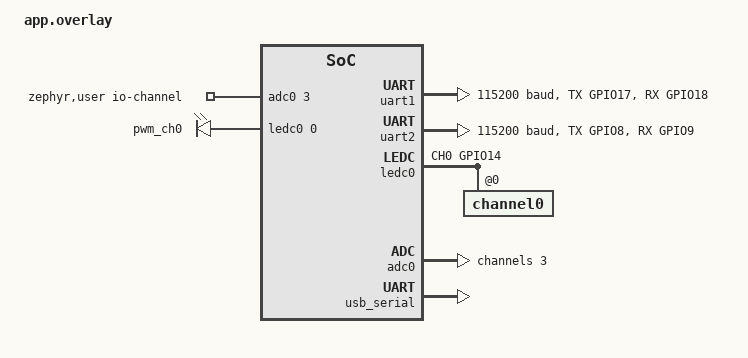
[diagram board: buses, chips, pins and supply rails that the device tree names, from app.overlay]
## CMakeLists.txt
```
# Zephyr application: Pix-in-the-Loop DUT persona ("VENT-CTRL") for ESP32-S3.
#
# Build:  west build -b esp32s3_devkitc/esp32s3/procpu . -p auto
# Flash:  west flash
#
# The persona emulates a ventilation/climate-controller node well enough to
# exercise the bench's Phase 2 (Bus Conformance) suite: a UART command link, a
# UART sensor peer, an SPI master, and a GPIO interrupt responder.
cmake_minimum_required(VERSION 3.20.0)
find_package(Zephyr REQUIRED HINTS $ENV{ZEPHYR_BASE})
project(vent_ctrl_dut)

target_sources(app PRIVATE
    src/dut_main.c
    src/cmd_link.c
    src/sensor_peer.c
    src/pwm_actuators.c
    src/gpio_io.c
    src/adc_dut.c
)
zephyr_include_directories(src)
```

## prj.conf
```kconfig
# DUT persona configuration.
#
# Console/log stays on uart0 (the devkit's USB-UART bridge, GPIO43/44) so uart1
# and uart2 are free for the bench links.

CONFIG_GPIO=y
CONFIG_SERIAL=y
CONFIG_GPIO=y
CONFIG_SERIAL=y
CONFIG_PWM=y
CONFIG_ADC=y

CONFIG_LOG=y
CONFIG_LOG_MODE_DEFERRED=y
```

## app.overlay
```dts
#include <zephyr/dt-bindings/pwm/pwm.h>
#include <zephyr/dt-bindings/pinctrl/esp32s3-pinctrl.h>

/ {
	chosen {
		/* Keep console + logging OFF uart1's pins (GPIO43/44), which carry the
		 * bench command link, by routing them to the built-in USB-Serial-JTAG
		 * (the DevKitC "USB" port) instead of uart0. */
		zephyr,console = &usb_serial;
		zephyr,shell-uart = &usb_serial;
	};

	zephyr,user {
		/* GPIO4 = ADC1 channel 3 on the ESP32-S3 (channel N -> GPIO N+1). */
		io-channels = <&adc0 3>;
	};

	aliases {
		uart-cmd = &uart1;
		uart-peer = &uart2;
		pwm-motor = &pwm_ch0;
		adc-thermistor = "/zephyr,user";
	};

	pwm_outputs {
		compatible = "pwm-leds";
		pwm_ch0: pwm_ch0 {
			pwms = <&ledc0 0 PWM_MSEC(1) PWM_POLARITY_NORMAL>;
		};
	};
};

&pinctrl {
	uart1_default: uart1_default {
		group1 {
			pinmux = <UART1_TX_GPIO17>;
			output-high;
		};
		group2 {
			pinmux = <UART1_RX_GPIO18>;
			bias-pull-up;
		};
	};

	uart2_dut: uart2_dut {
		group1 {
			pinmux = <UART2_TX_GPIO8>;
			output-high;
		};
		group2 {
			pinmux = <UART2_RX_GPIO9>;
			bias-pull-up;
		};
	};

	ledc_dut: ledc_dut {
		group1 {
			pinmux = <LEDC_CH0_GPIO14>;
		};
	};
};

&uart1 {
	status = "okay";
	current-speed = <115200>;
	pinctrl-0 = <&uart1_default>;
	pinctrl-names = "default";
};

&uart2 {
	status = "okay";
	current-speed = <115200>;
	pinctrl-0 = <&uart2_dut>;
	pinctrl-names = "default";
};

&ledc0 {
	status = "okay";
	pinctrl-0 = <&ledc_dut>;
	pinctrl-names = "default";
	#address-cells = <1>;
	#size-cells = <0>;

	channel0@0 {
		reg = <0>;
		timer = <0>;
	};
};

&adc0 {
	status = "okay";
	#address-cells = <1>;
	#size-cells = <0>;

	adc1_ch3: channel@3 {
		reg = <3>;
		zephyr,gain = "ADC_GAIN_1_4";
		zephyr,reference = "ADC_REF_INTERNAL";
		zephyr,acquisition-time = <0>;
		zephyr,resolution = <12>;
	};
};

/* Built-in USB-Serial-JTAG: console + log sink, so the bench command link on
 * uart1 (GPIO43/44) stays clean. View DUT logs on the DevKitC "USB" port. */
&usb_serial {
	status = "okay";
};
```

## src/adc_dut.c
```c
#include <zephyr/kernel.h>
#include <zephyr/drivers/adc.h>
#include <zephyr/logging/log.h>
#include "adc_dut.h"

LOG_MODULE_REGISTER(adc_dut, LOG_LEVEL_INF);

static const struct adc_dt_spec adc_chan = ADC_DT_SPEC_GET(DT_ALIAS(adc_thermistor));

void adc_dut_start(void)
{
    if (!adc_is_ready_dt(&adc_chan)) {
        LOG_ERR("ADC not ready");
        return;
    }
    adc_channel_setup_dt(&adc_chan);
}

uint16_t adc_dut_read_mv(void)
{
    int16_t buf;
    struct adc_sequence seq = {
        .buffer = &buf,
        .buffer_size = sizeof(buf),
    };
    adc_sequence_init_dt(&adc_chan, &seq);
    int err = adc_read_dt(&adc_chan, &seq);
    if (err) return 0;
    
    int32_t val_mv = buf;
    adc_raw_to_millivolts_dt(&adc_chan, &val_mv);
    return val_mv;
}
```

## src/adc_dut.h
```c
#pragma once
#include <stdint.h>
void adc_dut_start(void);
uint16_t adc_dut_read_mv(void);
```

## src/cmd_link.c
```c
#include <zephyr/kernel.h>
#include <zephyr/drivers/uart.h>
#include <zephyr/logging/log.h>
#include <string.h>
#include <stdio.h>
#include "gpio_io.h"

LOG_MODULE_REGISTER(cmd_link, LOG_LEVEL_INF);

static const struct device *uart1 = DEVICE_DT_GET(DT_ALIAS(uart_cmd));

static void cmd_send(const char *msg)
{
    for (int i = 0; msg[i] != '\0'; i++) {
        uart_poll_out(uart1, msg[i]);
    }
    uart_poll_out(uart1, '\n');
}

void cmd_link_send_alert(const char *msg)
{
    cmd_send(msg);
}

static void cmd_dispatch(char *rx_buf, int rx_len)
{
    rx_buf[rx_len] = '\0';
    char out[64] = "ERR";

    if (strncmp(rx_buf, "SLEEP", 5) == 0) {
        gpio_set_system_state(SYSTEM_STATE_SLEEP);
        snprintf(out, sizeof(out), "SLEEPOK");
    } else if (strncmp(rx_buf, "PING", 4) == 0) {
        snprintf(out, sizeof(out), "PONG");
    }
    cmd_send(out);
}

static void cmd_thread_func(void *arg1, void *arg2, void *arg3)
{
    char rx_buf[64];
    int rx_len = 0;
    int idle = 0;

    /* The bench delivers each command as a single burst with NO terminator
     * (its shell strips the trailing newline), so frame on the idle gap that
     * follows the burst -- while still honouring an explicit \n/\r if one
     * ever arrives. */
    while (1) {
        unsigned char c;
        if (uart_poll_in(uart1, &c) == 0) {
            if (c == '\n' || c == '\r') {
                if (rx_len > 0) {
                    cmd_dispatch(rx_buf, rx_len);
                    rx_len = 0;
                }
            } else if (rx_len < (int)sizeof(rx_buf) - 1) {
                rx_buf[rx_len++] = c;
            }
            idle = 0;
        } else {
            if (rx_len > 0 && ++idle >= 3) {   /* ~6 ms quiet => burst complete */
                cmd_dispatch(rx_buf, rx_len);
                rx_len = 0;
                idle = 0;
            }
            k_sleep(K_MSEC(2));
        }
    }
}

K_THREAD_DEFINE(cmd_tid, 1024, cmd_thread_func, NULL, NULL, NULL, 6, 0, 0);

void cmd_link_start(void)
{
    if (!device_is_ready(uart1)) {
        LOG_ERR("UART1 not ready");
    }
}
```

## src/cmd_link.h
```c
#pragma once
void cmd_link_start(void);
void cmd_link_send_alert(const char *msg);
```

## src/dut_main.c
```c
#include <zephyr/kernel.h>
#include <zephyr/logging/log.h>

#include "gpio_io.h"
#include "pwm_actuators.h"
#include "adc_dut.h"
#include "sensor_peer.h"
#include "cmd_link.h"

LOG_MODULE_REGISTER(dut_main, LOG_LEVEL_INF);

int main(void)
{
    LOG_INF("DUT Integration Persona starting");

    gpio_io_start();
    pwm_actuators_start();
    adc_dut_start();
    sensor_peer_start();
    cmd_link_start();

    LOG_INF("DUT ready - running state machine");
    
    // Simple main loop to check ADC (Scenario 1)
    while (1) {
        if (gpio_get_system_state() == SYSTEM_STATE_RUN) {
            uint16_t mv = adc_dut_read_mv();
            if (mv > 2000) { // Overheating threshold! (e.g. 2.0V)
                LOG_WRN("Overheating detected! ADC=%u mV", mv);
                gpio_set_fault(true);
                pwm_actuator_off();
                // Stay in fault state until reset (simplification for test)
            }
        }
        k_sleep(K_MSEC(100));
    }
    return 0;
}
```

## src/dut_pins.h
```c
#pragma once

#include <zephyr/drivers/gpio.h>

/*
 * DUT (ESP32-S3) pin map for the Integration Scenarios persona.
 *
 * All signals live on the gpio0 bank (GPIO0-21). Strapping pins (GPIO0/3/45/46),
 * the SPI flash/PSRAM pins (GPIO26-37) and the USB-Serial-JTAG pins (GPIO19/20,
 * used for the console) are intentionally avoided.
 *
 * Bench side is the STM32 Blackpill testbench (fixed pins, see ../../firmware
 * and Orchestrator/wiring_dut.md):
 *   uart1  <-> USART1 (PA9 TX / PA10 RX)
 *   uart2  <-> USART2 (PA2 TX / PA3 RX)
 *   ADC in <-  bench PWM1 (PA8) via RC
 *   PWM out -> bench ADC IN4 (PA4) via RC
 *   discrete GPIO <-> bench "Pure GPIO" pins (PB2/PB7/PB9/PB10/PB12/PC14)
 */

/* --- UART command link (uart1) --- */
#define GPIO_UART_CMD_TX    17  /* -> bench USART1 RX (PA10) */
#define GPIO_UART_CMD_RX    18  /* <- bench USART1 TX (PA9)  */

/* --- UART sensor peer (uart2) --- */
#define GPIO_UART_PEER_TX   8   /* -> bench USART2 RX (PA3) */
#define GPIO_UART_PEER_RX   9   /* <- bench USART2 TX (PA2) */

/* --- Inputs from bench --- */
#define GPIO_IN_BUTTON      5   /* <- bench PB2 */
#define GPIO_IN_TAMPER      6   /* <- bench PB7 */

/* --- Analog / PWM (managed by their Zephyr drivers) --- */
#define GPIO_ADC_THERMISTOR 4   /* GPIO4 = ADC1 channel 3; <- bench PWM1 (PA8) via RC */
#define GPIO_PWM_MOTOR      14  /* LEDC CH0; -> bench ADC IN4 (PA4) via RC */

/* --- Outputs to bench --- */
#define GPIO_OUT_FAULT      10  /* -> bench PB9  */
#define GPIO_OUT_RELAY      11  /* -> bench PB10 */
#define GPIO_OUT_HEARTBEAT  12  /* -> bench PB12 */
#define GPIO_OUT_STATUS_LED 13  /* -> bench PC14 (optional) */
```

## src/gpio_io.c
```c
#include <zephyr/kernel.h>
#include <zephyr/drivers/gpio.h>
#include <zephyr/logging/log.h>
#include "dut_pins.h"
#include "gpio_io.h"
#include "pwm_actuators.h"
#include "cmd_link.h"

LOG_MODULE_REGISTER(gpio_io, LOG_LEVEL_INF);

static const struct device *gpio0 = DEVICE_DT_GET(DT_NODELABEL(gpio0));

static struct gpio_callback btn_cb_data;
static struct gpio_callback tamper_cb_data;

static system_state_t current_state = SYSTEM_STATE_SLEEP;
static int tamper_count = 0;
static struct k_timer hb_timer;
static bool hb_state = false;

static void hb_expiry(struct k_timer *timer_id)
{
    if (current_state == SYSTEM_STATE_RUN) {
        hb_state = !hb_state;
        gpio_pin_set(gpio0, GPIO_OUT_HEARTBEAT, hb_state ? 1 : 0);
    } else {
        gpio_pin_set(gpio0, GPIO_OUT_HEARTBEAT, 0);
    }
}

static void button_isr(const struct device *dev, struct gpio_callback *cb, uint32_t pins)
{
    if (current_state == SYSTEM_STATE_SLEEP) {
        gpio_set_system_state(SYSTEM_STATE_RUN);
    }
}

static void tamper_isr(const struct device *dev, struct gpio_callback *cb, uint32_t pins)
{
    tamper_count++;
    gpio_set_relay(true); // Scenario 2: turn on relay
    cmd_link_send_alert("ALERT: TAMPER DETECTED");
}

void gpio_io_start(void)
{
    if (!device_is_ready(gpio0)) {
        LOG_ERR("GPIO device not ready");
        return;
    }

    gpio_pin_configure(gpio0, GPIO_IN_BUTTON,  GPIO_INPUT | GPIO_PULL_DOWN);
    gpio_pin_configure(gpio0, GPIO_IN_TAMPER,  GPIO_INPUT | GPIO_PULL_DOWN);

    gpio_pin_interrupt_configure(gpio0, GPIO_IN_BUTTON,  GPIO_INT_EDGE_RISING);
    gpio_pin_interrupt_configure(gpio0, GPIO_IN_TAMPER,  GPIO_INT_EDGE_RISING);

    gpio_init_callback(&btn_cb_data, button_isr, BIT(GPIO_IN_BUTTON));
    gpio_add_callback(gpio0, &btn_cb_data);

    gpio_init_callback(&tamper_cb_data, tamper_isr, BIT(GPIO_IN_TAMPER));
    gpio_add_callback(gpio0, &tamper_cb_data);

    gpio_pin_configure(gpio0, GPIO_OUT_STATUS_LED, GPIO_OUTPUT_INACTIVE);
    gpio_pin_configure(gpio0, GPIO_OUT_FAULT,      GPIO_OUTPUT_INACTIVE);
    gpio_pin_configure(gpio0, GPIO_OUT_RELAY,      GPIO_OUTPUT_INACTIVE);
    gpio_pin_configure(gpio0, GPIO_OUT_HEARTBEAT,  GPIO_OUTPUT_INACTIVE);

    k_timer_init(&hb_timer, hb_expiry, NULL);
    k_timer_start(&hb_timer, K_MSEC(500), K_MSEC(500));
}

void gpio_set_fault(bool active)
{
    gpio_pin_set(gpio0, GPIO_OUT_FAULT, active ? 1 : 0);
}

void gpio_set_relay(bool active)
{
    gpio_pin_set(gpio0, GPIO_OUT_RELAY, active ? 1 : 0);
}

void gpio_set_system_state(system_state_t state)
{
    current_state = state;
    if (state == SYSTEM_STATE_RUN) {
        LOG_INF("Entering RUN state");
        pwm_actuator_set(500); // 50% default
    } else {
        LOG_INF("Entering SLEEP state");
        pwm_actuator_off();
        /* SLEEP is the system's clean/idle state: clear the latched alarm
         * outputs so each test run (which ends by sleeping) starts fresh. */
        gpio_set_relay(false);
        gpio_set_fault(false);
        tamper_count = 0;
    }
}

system_state_t gpio_get_system_state(void)
{
    return current_state;
}

int gpio_get_tamper_count(void)
{
    return tamper_count;
}
```

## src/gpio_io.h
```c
#pragma once
#include <stdbool.h>

typedef enum {
    SYSTEM_STATE_SLEEP = 0,
    SYSTEM_STATE_RUN = 1
} system_state_t;

void gpio_io_start(void);
void gpio_set_fault(bool active);
void gpio_set_relay(bool active);
void gpio_set_system_state(system_state_t state);
system_state_t gpio_get_system_state(void);
int gpio_get_tamper_count(void);
```

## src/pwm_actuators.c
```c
#include <zephyr/kernel.h>
#include <zephyr/drivers/pwm.h>
#include <zephyr/logging/log.h>
#include "pwm_actuators.h"

LOG_MODULE_REGISTER(pwm_act, LOG_LEVEL_INF);

static const struct pwm_dt_spec act = PWM_DT_SPEC_GET(DT_ALIAS(pwm_motor));

void pwm_actuators_start(void)
{
    if (!pwm_is_ready_dt(&act)) {
        LOG_ERR("PWM motor not ready");
        return;
    }
    pwm_actuator_off();
    LOG_INF("PWM ready");
}

bool pwm_actuator_set(uint32_t duty_permille)
{
    if (duty_permille > 1000) return false;
    uint32_t period_ns = 100000; // 10 kHz
    uint32_t pulse_ns = (period_ns / 1000) * duty_permille;
    int err = pwm_set_dt(&act, period_ns, pulse_ns);
    return err == 0;
}

bool pwm_actuator_off(void)
{
    return pwm_actuator_set(0);
}
```

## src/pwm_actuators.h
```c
#pragma once
#include <stdbool.h>
#include <stdint.h>

void pwm_actuators_start(void);
bool pwm_actuator_set(uint32_t duty_permille);
bool pwm_actuator_off(void);
```

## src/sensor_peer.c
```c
#include <zephyr/kernel.h>
#include <zephyr/drivers/uart.h>
#include <zephyr/logging/log.h>
#include <stdio.h>
#include <string.h>
#include "pwm_actuators.h"

LOG_MODULE_REGISTER(sensor_peer, LOG_LEVEL_INF);

static const struct device *uart2 = DEVICE_DT_GET(DT_ALIAS(uart_peer));

static void peer_parse(char *rx_buf, int rx_len)
{
    rx_buf[rx_len] = '\0';
    // Scenario 3: Parse "TEMP:xx"
    int temp;
    if (sscanf(rx_buf, "TEMP:%d", &temp) == 1) {
        LOG_INF("Received TEMP=%d", temp);
        if (temp >= 100) pwm_actuator_set(1000);
        else if (temp <= 0) pwm_actuator_set(0);
        else pwm_actuator_set(temp * 10);
    }
}

static void peer_thread_func(void *arg1, void *arg2, void *arg3)
{
    char rx_buf[64];
    int rx_len = 0;
    int idle = 0;

    /* Same idle-gap framing as the command link: the bench shell delivers each
     * frame as one burst with no trailing newline. */
    while (1) {
        unsigned char c;
        if (uart_poll_in(uart2, &c) == 0) {
            if (c == '\n' || c == '\r') {
                if (rx_len > 0) {
                    peer_parse(rx_buf, rx_len);
                    rx_len = 0;
                }
            } else if (rx_len < (int)sizeof(rx_buf) - 1) {
                rx_buf[rx_len++] = c;
            }
            idle = 0;
        } else {
            if (rx_len > 0 && ++idle >= 3) {
                peer_parse(rx_buf, rx_len);
                rx_len = 0;
                idle = 0;
            }
            k_sleep(K_MSEC(2));
        }
    }
}

K_THREAD_DEFINE(peer_tid, 1024, peer_thread_func, NULL, NULL, NULL, 7, 0, 0);

void sensor_peer_start(void)
{
    if (!device_is_ready(uart2)) {
        LOG_ERR("UART2 not ready");
    }
}
```

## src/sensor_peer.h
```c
#pragma once
void sensor_peer_start(void);
```
